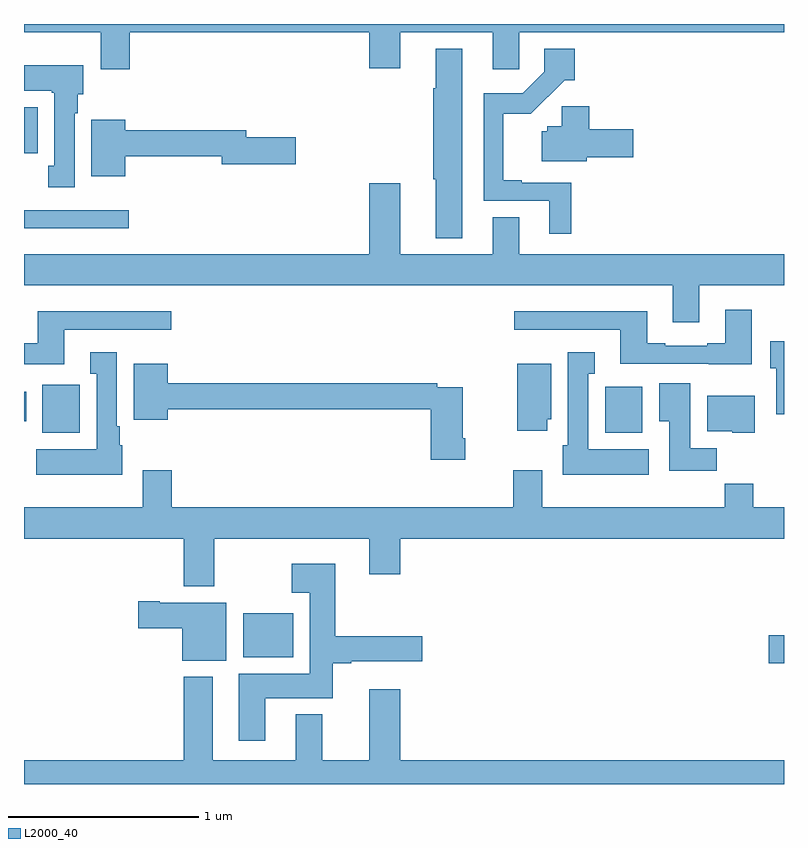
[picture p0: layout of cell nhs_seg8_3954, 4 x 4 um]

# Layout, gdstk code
import gdstk
lib = gdstk.Library(unit=1e-6, precision=1e-09)
def R(c, l, rs):  # rectangles x0, y0, x1, y1
    for r in rs: c.add(gdstk.rectangle(r[:2], r[2:], *l))
def P(c, l, *ps):  # polygons
    for p in ps: c.add(gdstk.Polygon(p, *l))
L2000_40 = (2000, 40)

nhs_seg8_3954 = lib.new_cell('nhs_seg8_3954')
R(nhs_seg8_3954, L2000_40, [(358.92,1090.535,359,1090.682), (356.153,1090.568,356.416,1090.798), (355.097,1091.75,355.293,1092.001), (358.058,1091.75,358.255,1091.992), (355,1091.809,355.012,1091.965), (355,1092.824,355.552,1092.921), (355,1093.22,355.072,1093.462)])
P(nhs_seg8_3954, L2000_40, [(355.556,1093.856),(356.816,1093.856),(356.816,1093.668),(356.98,1093.668),(356.98,1093.856),(357.467,1093.856),(357.467,1093.662),(357.606,1093.662),(357.606,1093.856),(359,1093.856),(359,1093.9),(355,1093.9),(355,1093.856),(355.403,1093.856),(355.403,1093.662),(355.556,1093.662)],
  [(357.881,1093.065),(357.619,1093.065),(357.619,1093.078),(357.523,1093.078),(357.523,1093.427),(357.667,1093.427),(357.845,1093.604),(357.899,1093.604),(357.899,1093.771),(357.738,1093.771),(357.738,1093.65),(357.624,1093.536),(357.419,1093.536),(357.419,1092.969),(357.764,1092.969),(357.764,1092.795),(357.881,1092.795)],
  [(357.307,1093.771),(357.167,1093.771),(357.167,1093.561),(357.155,1093.561),(357.155,1093.083),(357.167,1093.083),(357.167,1092.773),(357.307,1092.773)],
  [(355.267,1093.43),(355.282,1093.43),(355.282,1093.53),(355.312,1093.53),(355.312,1093.684),(355,1093.684),(355,1093.55),(355.147,1093.55),(355.147,1093.537),(355.16,1093.537),(355.16,1093.154),(355.127,1093.154),(355.127,1093.041),(355.267,1093.041)],
  [(357.961,1093.199),(358.207,1093.199),(358.207,1093.346),(357.974,1093.346),(357.974,1093.467),(357.829,1093.467),(357.829,1093.362),(357.753,1093.362),(357.753,1093.335),(357.725,1093.335),(357.725,1093.178),(357.961,1093.178)],
  [(355.534,1093.204),(356.042,1093.204),(356.042,1093.162),(356.431,1093.162),(356.431,1093.304),(356.17,1093.304),(356.17,1093.34),(355.534,1093.34),(355.534,1093.396),(355.355,1093.396),(355.355,1093.1),(355.534,1093.1)],
  [(358.555,1092.524),(359,1092.524),(359,1092.688),(357.607,1092.688),(357.607,1092.883),(357.467,1092.883),(357.467,1092.688),(356.98,1092.688),(356.98,1093.063),(356.816,1093.063),(356.816,1092.688),(355,1092.688),(355,1092.524),(358.415,1092.524),(358.415,1092.33),(358.555,1092.33)],
  [(358.831,1092.397),(358.691,1092.397),(358.691,1092.22),(358.595,1092.22),(358.595,1092.207),(358.375,1092.207),(358.375,1092.22),(358.279,1092.22),(358.279,1092.388),(357.579,1092.388),(357.579,1092.291),(358.139,1092.291),(358.139,1092.111),(358.603,1092.111),(358.603,1092.11),(358.831,1092.11)],
  [(355.213,1092.291),(355.774,1092.291),(355.774,1092.388),(355.073,1092.388),(355.073,1092.22),(355,1092.22),(355,1092.11),(355.213,1092.11)],
  [(359,1092.231),(358.928,1092.231),(358.928,1092.089),(358.959,1092.089),(358.959,1091.845),(359,1091.845)],
  [(355.516,1091.682),(355.504,1091.682),(355.504,1091.782),(355.489,1091.782),(355.489,1092.172),(355.349,1092.172),(355.349,1092.059),(355.382,1092.059),(355.382,1091.662),(355.065,1091.662),(355.065,1091.528),(355.516,1091.528)],
  [(358.288,1091.662),(357.97,1091.662),(357.97,1092.059),(358.003,1092.059),(358.003,1092.172),(357.863,1092.172),(357.863,1091.682),(357.836,1091.682),(357.836,1091.528),(358.288,1091.528)],
  [(357.754,1091.82),(357.775,1091.82),(357.775,1092.112),(357.596,1092.112),(357.596,1091.76),(357.754,1091.76)],
  [(357.323,1091.719),(357.31,1091.719),(357.31,1091.988),(357.176,1091.988),(357.176,1092.008),(355.756,1092.008),(355.756,1092.112),(355.577,1092.112),(355.577,1091.816),(355.756,1091.816),(355.756,1091.872),(357.14,1091.872),(357.14,1091.607),(357.323,1091.607)],
  [(358.646,1091.668),(358.507,1091.668),(358.507,1092.01),(358.343,1092.01),(358.343,1091.809),(358.397,1091.809),(358.397,1091.55),(358.646,1091.55)],
  [(358.846,1091.944),(358.595,1091.944),(358.595,1091.756),(358.728,1091.756),(358.728,1091.75),(358.846,1091.75)],
  [(356.001,1091.192),(356.816,1091.192),(356.816,1091.004),(356.98,1091.004),(356.98,1091.192),(359,1091.192),(359,1091.356),(358.839,1091.356),(358.839,1091.48),(358.687,1091.48),(358.687,1091.356),(357.727,1091.356),(357.727,1091.551),(357.575,1091.551),(357.575,1091.356),(355.778,1091.356),(355.778,1091.551),(355.625,1091.551),(355.625,1091.356),(355,1091.356),(355,1091.192),(355.841,1091.192),(355.841,1090.94),(356.001,1090.94)],
  [(356.269,1090.352),(356.626,1090.352),(356.626,1090.535),(356.722,1090.535),(356.722,1090.547),(357.097,1090.547),(357.097,1090.677),(356.639,1090.677),(356.639,1091.059),(356.409,1091.059),(356.409,1090.907),(356.504,1090.907),(356.504,1090.48),(356.129,1090.48),(356.129,1090.128),(356.269,1090.128)],
  [(356.065,1090.855),(355.714,1090.855),(355.714,1090.863),(355.602,1090.863),(355.602,1090.721),(355.832,1090.721),(355.832,1090.55),(356.065,1090.55)],
  [(359,1090.024),(356.98,1090.024),(356.98,1090.399),(356.816,1090.399),(356.816,1090.024),(356.569,1090.024),(356.569,1090.267),(356.429,1090.267),(356.429,1090.024),(355.993,1090.024),(355.993,1090.465),(355.841,1090.465),(355.841,1090.024),(355,1090.024),(355,1089.9),(359,1089.9)])

lib.write_gds('nhs_seg8_3954.gds')
